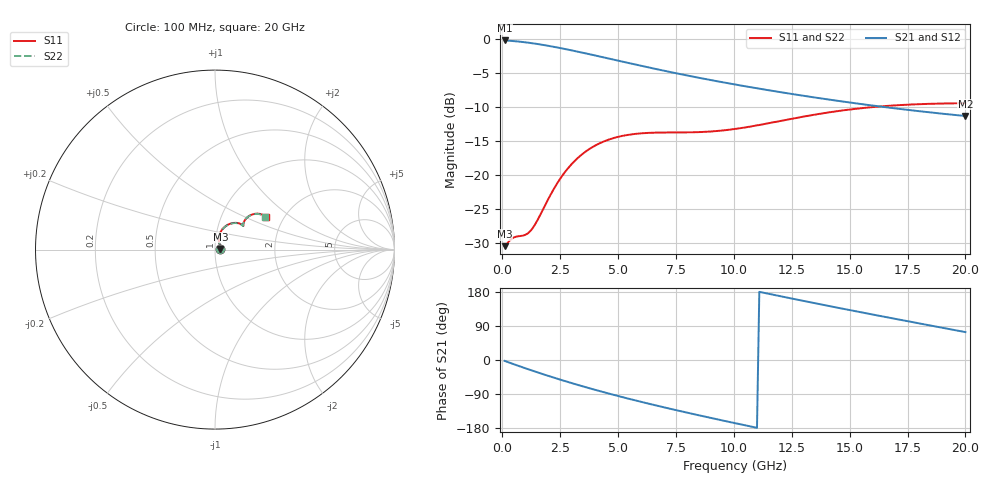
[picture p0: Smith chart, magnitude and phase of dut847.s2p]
! Touchstone file exported from HFSS 2024.1.0
!  File:  C:/UserFiles/LocalFiles/RDL_TSV_Batchsim/temp_RDL_TSV_847_1779921827.aedt
!  Generated:  07:00:48 AM May 28, 2026
!  Design:  RDL_TSV
!  Project:  temp_RDL_TSV_847_1779921827
!  Setup:  Setup1
!  Solution:  Sweep
! Variables:
!  dtsv = 9.21um
!  hbump = 3um
!  htsv = 71.6um
!  ldown = 549.79um
!  lrdl = 691.83um
!  p = 40
!  p1 = 41.1um
!  rhole = 10um
!  subl = 4416.69um
!  t = 450um
!  tdown = 2.13um
!  trdl = 2.49um
!  viad = 10um
!  wdown = 29.03um
!  wrdl = 19.19um
!  xbump = 18um
# GHz S MA R 50.000000
! Terminal data exported
! Port[1] = TM1_1_T1
! Port[2] = TM1_4_T1
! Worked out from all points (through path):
!   200 points, 100 MHz to 20 GHz, reference 50 ohm
!   highest |S21| = -0.27 dB at 100 MHz (marker M1); lowest = -11.3 dB at 20 GHz (marker M2)
!   group delay of S21, straight-line fit = 38.2 ps
!   lowest |S11| = -30.4 dB at 100 MHz (marker M3), VSWR 1.06, Z = 53.1 + j0.367 ohm
!   |S11| at or under -10 dB: start of sweep to 16.07 GHz
!   |S22| runs from -30.4 to -9.5 dB; largest |S21 - S12| = 6.5e-15
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0.1  0.03023 6.6  0.9696 -2.3  0.9696 -2.3  0.03023 6.5
! Gamma 0 0 0 0
! Port Impedance 50 0 50 0
0.5  0.03502 21.2  0.9592 -11.2  0.9592 -11.2  0.03504 21.1
1  0.03662 38.4  0.9396 -21.9  0.9396 -21.9  0.03665 38.2
1.2  0.03881 47.9  0.9302 -26.1  0.9302 -26.1  0.0388 47.6
1.4  0.04315 56.9  0.9199 -30.2  0.9199 -30.2  0.04307 56.6
1.8  0.058 69.0  0.8973 -38.2  0.8973 -38.2  0.05774 68.7
2.6  0.09967 72.7  0.8468 -53.7  0.8468 -53.7  0.09905 72.5
3  0.1209 70.0  0.8202 -61.0  0.8202 -61.0  0.1201 69.9
3.5  0.1447 65.4  0.7867 -70.0  0.7867 -70.0  0.1438 65.3
4.3  0.1742 57.5  0.734 -83.6  0.734 -83.6  0.173 57.4
5.2  0.1942 49.7  0.678 -98.2  0.678 -98.2  0.1929 49.7
6  0.2026 44.6  0.6324 -110.5  0.6324 -110.5  0.2012 44.6
6.8  0.2053 41.4  0.5909 -122.3  0.5909 -122.3  0.204 41.4
7.6  0.2056 40.0  0.5537 -133.6  0.5537 -133.6  0.2044 40.1
8.4  0.2065 40.1  0.5203 -144.7  0.5203 -144.7  0.2054 40.3
10.1  0.2187 43.1  0.46 -167.3  0.46 -167.3  0.2177 43.1
11.8  0.2456 44.9  0.411 170.9  0.411 170.9  0.2446 45.0
13.4  0.2759 44.1  0.3728 151.1  0.3728 151.1  0.2747 44.0
15  0.3026 41.4  0.3407 131.8  0.3407 131.8  0.301 41.3
16.7  0.3224 37.8  0.3124 111.7  0.3124 111.7  0.3203 37.8
18.3  0.3325 34.8  0.2905 93.2  0.2905 93.2  0.3299 34.8
20  0.3367 32.5  0.2713 73.6  0.2713 73.6  0.3337 32.6
